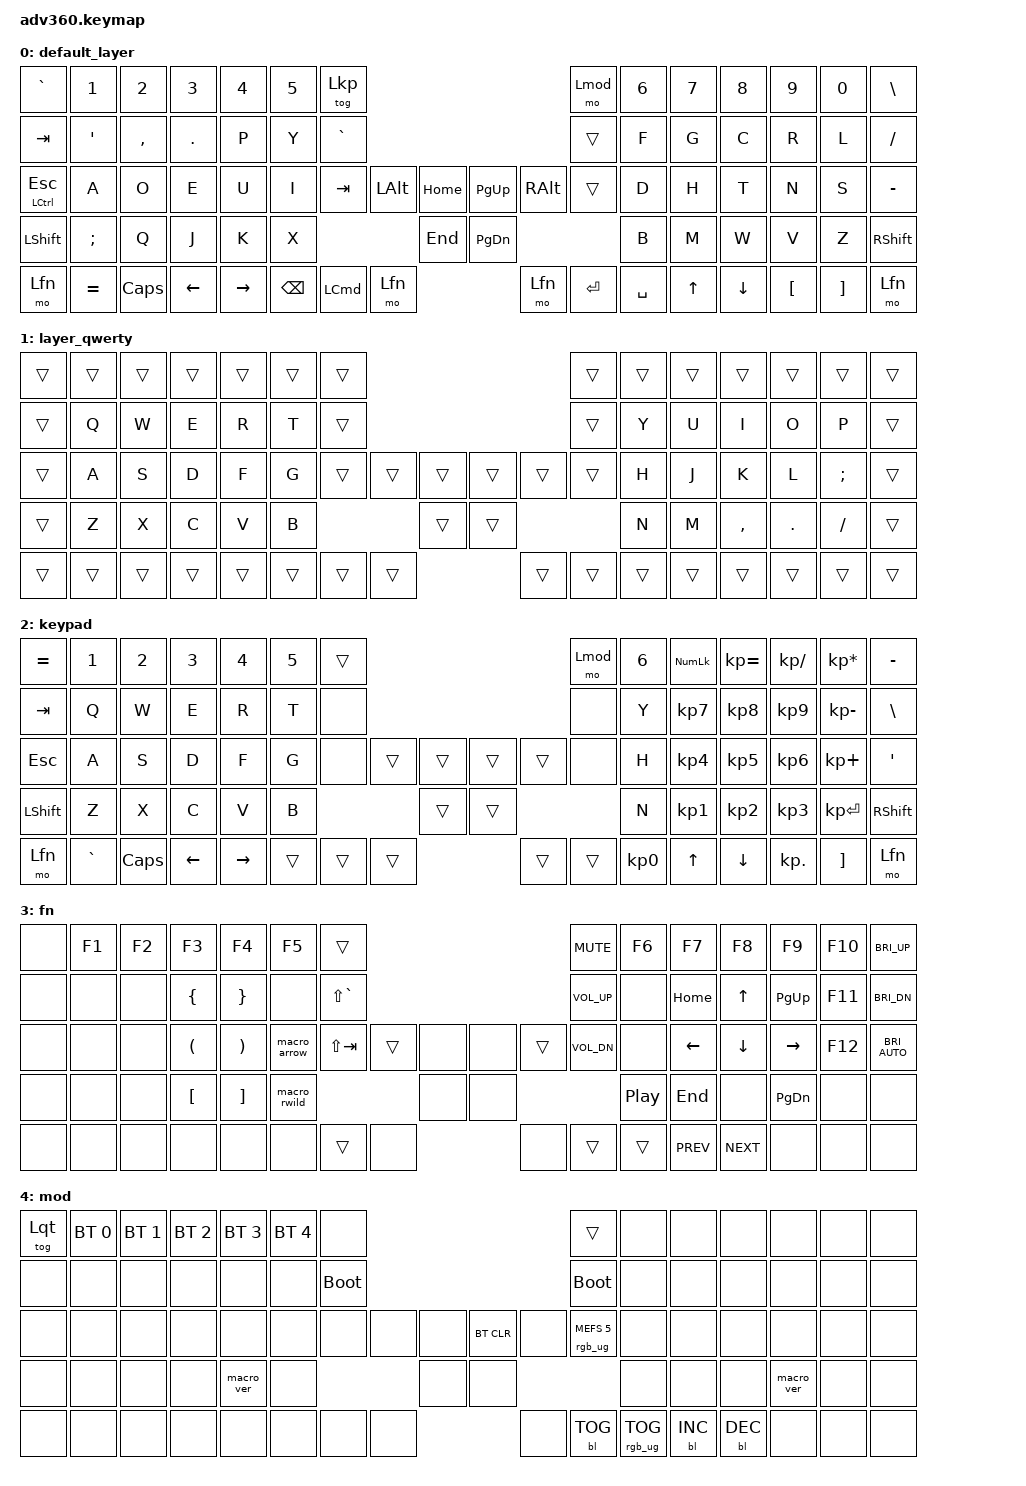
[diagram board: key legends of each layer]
#include <behaviors.dtsi>
#include <dt-bindings/zmk/keys.h>
#include <dt-bindings/zmk/bt.h>
#include <dt-bindings/zmk/rgb.h>
#include <dt-bindings/zmk/backlight.h>

#define Ldv 0
#define Lqt 1
#define Lkp 2
#define Lfn 3
#define Lmod 4

/ {
    behaviors {
      #include "macros.dtsi"
      #include "version.dtsi"
      #ifndef VERSION_MACRO
      macro_ver: macro_ver {
        compatible = "zmk,behavior-macro";
        label = "macro_version";
        #binding-cells = <0>;
        bindings = <&kp RET>;
      };
      #endif

      hm: homerow_mods {
          compatible = "zmk,behavior-hold-tap";
          label = "HOMEROW_MODS";
          #binding-cells = <2>;
          tapping-term-ms = <200>;
          quick_tap_ms = <175>;
          flavor = "tap-preferred";
          bindings = <&kp>, <&kp>;
      };
    };

  keymap {
    compatible = "zmk,keymap";

    default_layer {
      bindings = <
        &kp GRAVE     &kp N1    &kp N2    &kp N3   &kp N4     &kp N5 &tog Lkp                                                         &mo Lmod &kp N6 &kp N7 &kp N8   &kp N9   &kp N0   &kp BSLH
        &kp TAB       &kp SQT   &kp COMMA &kp DOT  &kp P      &kp Y  &kp GRAVE                                                        &trans   &kp F  &kp G  &kp C    &kp R    &kp L    &kp FSLH
        &mt LCTRL ESC &kp A     &kp O     &kp E    &kp U      &kp I  &kp TAB         &kp LALT  &kp HOME &kp PG_UP &kp RALT            &trans   &kp D  &kp H  &kp T    &kp N    &kp S    &kp MINUS
        &kp LSHFT     &kp SEMI  &kp Q     &kp J    &kp K      &kp X                            &kp END  &kp PG_DN                              &kp B  &kp M  &kp W    &kp V    &kp Z    &kp RSHFT
        &mo Lfn       &kp EQUAL &kp CAPS  &kp LEFT &kp RIGHT                &kp BSPC &kp LCMD  &mo Lfn  &mo Lfn   &kp ENTER &kp SPACE                 &kp UP &kp DOWN &kp LBKT &kp RBKT &mo Lfn
      >;
    };
    layer_qwerty {
      bindings = <
        &trans    &trans    &trans   &trans   &trans     &trans &trans                                                           &trans &trans &trans &trans    &trans   &trans   &trans
        &trans    &kp Q     &kp W    &kp E    &kp R      &kp T  &trans                                                           &trans &kp Y  &kp U  &kp I     &kp O    &kp P    &trans
        &trans    &kp A     &kp S    &kp D    &kp F      &kp G  &trans          &trans    &trans   &trans    &trans              &trans &kp H  &kp J  &kp K     &kp L    &kp SEMI &trans
        &trans    &kp Z     &kp X    &kp C    &kp V      &kp B                            &trans   &trans                               &kp N  &kp M  &kp COMMA &kp DOT  &kp FSLH &trans
        &trans    &trans    &trans   &trans   &trans                   &trans   &trans    &trans   &trans    &trans    &trans                  &trans &trans    &trans   &trans   &trans
      >;
    };
    keypad {
      bindings = <
        &kp EQUAL &kp N1    &kp N2   &kp N3   &kp N4     &kp N5 &trans                                                         &mo Lmod &kp N6 &kp KP_NUM &kp KP_EQUAL &kp KP_DIVIDE &kp KP_MULTIPLY &kp MINUS
        &kp TAB   &kp Q     &kp W    &kp E    &kp R      &kp T  &none                                                          &none    &kp Y  &kp KP_N7  &kp KP_N8    &kp KP_N9     &kp KP_MINUS    &kp BSLH
        &kp ESC   &kp A     &kp S    &kp D    &kp F      &kp G  &none           &trans    &trans   &trans    &trans            &none    &kp H  &kp KP_N4  &kp KP_N5    &kp KP_N6     &kp KP_PLUS     &kp SQT
        &kp LSHFT &kp Z     &kp X    &kp C    &kp V      &kp B                            &trans   &trans                               &kp N  &kp KP_N1  &kp KP_N2    &kp KP_N3     &kp KP_ENTER    &kp RSHFT
        &mo Lfn   &kp GRAVE &kp CAPS &kp LEFT &kp RIGHT                &trans   &trans    &trans   &trans    &trans  &kp KP_N0                 &kp UP     &kp DOWN     &kp KP_DOT    &kp RBKT        &mo Lfn
      >;
    };
    fn {
      bindings = <
        &none  &kp F1 &kp F2 &kp F3   &kp F4   &kp F5       &trans                                          &kp C_MUTE   &kp F6   &kp F7     &kp F8     &kp F9     &kp F10    &kp C_BRI_UP
        &none  &none  &none  &kp LBRC &kp RBRC &none        &kp LS(GRAVE)                                   &kp C_VOL_UP &none    &kp HOME   &kp UP     &kp PG_UP  &kp F11    &kp C_BRI_DN
        &none  &none  &none  &kp LPAR &kp RPAR &macro_arrow &kp LS(TAB)  &trans &none  &none  &trans        &kp C_VOL_DN &none    &kp LEFT   &kp DOWN   &kp RIGHT  &kp F12    &kp C_BRI_AUTO
        &none  &none  &none  &kp LBKT &kp RBKT &macro_rwild                     &none  &none                             &kp C_PP &kp END    &none      &kp PG_DN  &none      &none
        &none  &none  &none  &none    &none                       &none  &trans &none  &none  &trans &trans                       &kp C_PREV &kp C_NEXT &none      &none      &none
      >;
    };
    mod {
      bindings = <
        &tog Lqt &bt BT_SEL 0 &bt BT_SEL 1 &bt BT_SEL 2 &bt BT_SEL 3 &bt BT_SEL 4 &none                                                                     &trans                 &none        &none        &none        &none      &none &none
        &none    &none        &none        &none        &none        &none        &bootloader                                                               &bootloader            &none        &none        &none        &none      &none &none
        &none    &none        &none        &none        &none        &none        &none                   &none &none &bt BT_CLR &none                      &rgb_ug RGB_MEFS_CMD 5 &none        &none        &none        &none      &none &none
        &none    &none        &none        &none        &macro_ver   &none                                      &none &none                                                        &none        &none        &none        &macro_ver &none &none
        &none    &none        &none        &none        &none                                       &none &none &none &none      &bl BL_TOG &rgb_ug RGB_TOG                                     &bl BL_INC   &bl BL_DEC   &none      &none &none
      >;
    };
  };
};
